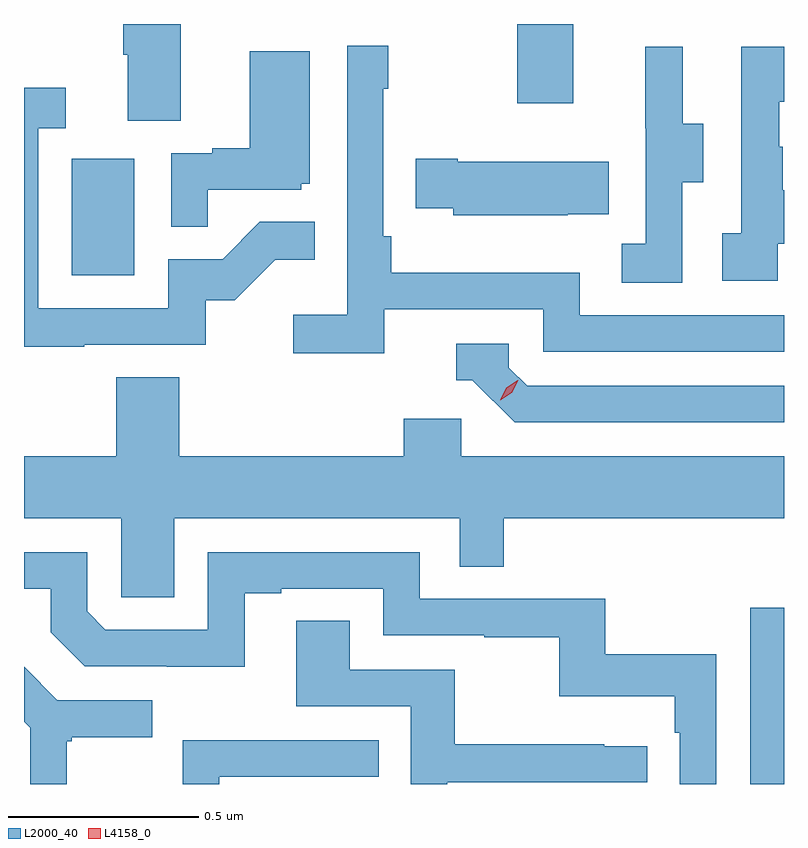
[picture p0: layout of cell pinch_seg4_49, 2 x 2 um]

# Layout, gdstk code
import gdstk
lib = gdstk.Library(unit=1e-6, precision=1e-09)
def R(c, l, rs):  # rectangles x0, y0, x1, y1
    for r in rs: c.add(gdstk.rectangle(r[:2], r[2:], *l))
def P(c, l, *ps):  # polygons
    for p in ps: c.add(gdstk.Polygon(p, *l))
L2000_40 = (2000, 40)
L4158_0 = (4158, 0)

pinch_seg4_49 = lib.new_cell('pinch_seg4_49')
R(pinch_seg4_49, L2000_40, [(1131.695,820.097,1131.784,820.561), (1129.91,821.436,1130.074,821.743), (1131.082,821.889,1131.229,822.097)])
P(pinch_seg4_49, L2000_40, [(1130.197,822.097),(1130.045,822.097),(1130.045,822.016),(1130.057,822.016),(1130.057,821.842),(1130.197,821.842)],
  [(1130.732,821.346),(1131.15,821.346),(1131.15,821.235),(1131.784,821.235),(1131.784,821.331),(1131.246,821.331),(1131.246,821.443),(1130.75,821.443),(1130.75,821.539),(1130.73,821.539),(1130.73,821.927),(1130.743,821.927),(1130.743,822.04),(1130.634,822.04),(1130.634,821.332),(1130.493,821.332),(1130.493,821.23),(1130.732,821.23)],
  [(1131.768,821.519),(1131.784,821.519),(1131.784,821.659),(1131.781,821.659),(1131.781,821.774),(1131.771,821.774),(1131.771,821.892),(1131.784,821.892),(1131.784,822.037),(1131.672,822.037),(1131.672,821.546),(1131.621,821.546),(1131.621,821.421),(1131.768,821.421)],
  [(1131.516,821.68),(1131.571,821.68),(1131.571,821.835),(1131.517,821.835),(1131.517,822.037),(1131.419,822.037),(1131.419,821.823),(1131.42,821.823),(1131.42,821.519),(1131.357,821.519),(1131.357,821.416),(1131.516,821.416)],
  [(1130.267,821.661),(1130.514,821.661),(1130.514,821.676),(1130.536,821.676),(1130.536,822.025),(1130.378,822.025),(1130.378,821.77),(1130.279,821.77),(1130.279,821.757),(1130.172,821.757),(1130.172,821.563),(1130.267,821.563)],
  [(1129.943,821.253),(1130.262,821.253),(1130.262,821.37),(1130.338,821.37),(1130.445,821.477),(1130.549,821.477),(1130.549,821.576),(1130.405,821.576),(1130.307,821.478),(1130.163,821.478),(1130.163,821.349),(1129.821,821.349),(1129.821,821.823),(1129.894,821.823),(1129.894,821.929),(1129.784,821.929),(1129.784,821.248),(1129.943,821.248)],
  [(1131.215,821.597),(1131.323,821.597),(1131.323,821.734),(1130.926,821.734),(1130.926,821.742),(1130.815,821.742),(1130.815,821.612),(1130.913,821.612),(1130.913,821.594),(1131.215,821.594)],
  [(1131.784,821.145),(1131.108,821.145),(1131.06,821.193),(1131.06,821.256),(1130.921,821.256),(1130.921,821.16),(1130.964,821.16),(1131.075,821.049),(1131.784,821.049)],
  [(1130.179,820.796),(1130.931,820.796),(1130.931,820.669),(1131.047,820.669),(1131.047,820.796),(1131.784,820.796),(1131.784,820.96),(1130.934,820.96),(1130.934,821.058),(1130.783,821.058),(1130.783,820.96),(1130.192,820.96),(1130.192,821.168),(1130.027,821.168),(1130.027,820.96),(1129.784,820.96),(1129.784,820.796),(1130.04,820.796),(1130.04,820.588),(1130.179,820.588)],
  [(1131.606,820.438),(1131.313,820.438),(1131.313,820.584),(1130.826,820.584),(1130.826,820.707),(1130.268,820.707),(1130.268,820.503),(1129.998,820.503),(1129.95,820.551),(1129.95,820.707),(1129.784,820.707),(1129.784,820.611),(1129.854,820.611),(1129.854,820.497),(1129.944,820.407),(1130.16,820.407),(1130.16,820.406),(1130.365,820.406),(1130.365,820.599),(1130.461,820.599),(1130.461,820.611),(1130.73,820.611),(1130.73,820.488),(1130.995,820.488),(1130.995,820.483),(1131.192,820.483),(1131.192,820.328),(1131.497,820.328),(1131.497,820.232),(1131.51,820.232),(1131.51,820.097),(1131.606,820.097)],
  [(1130.898,820.101),(1131.424,820.101),(1131.424,820.197),(1131.311,820.197),(1131.311,820.202),(1130.918,820.202),(1130.918,820.398),(1130.641,820.398),(1130.641,820.526),(1130.501,820.526),(1130.501,820.302),(1130.802,820.302),(1130.802,820.097),(1130.898,820.097)],
  [(1129.897,820.209),(1129.909,820.209),(1129.909,820.22),(1130.122,820.22),(1130.122,820.317),(1129.872,820.317),(1129.784,820.405),(1129.784,820.261),(1129.8,820.245),(1129.8,820.097),(1129.897,820.097)],
  [(1130.298,820.116),(1130.717,820.116),(1130.717,820.212),(1130.202,820.212),(1130.202,820.097),(1130.298,820.097)])
P(pinch_seg4_49, L4158_0, [(1131.037,821.107),(1131.037,821.107),(1131.053,821.14),(1131.083,821.159),(1131.084,821.159),(1131.084,821.159),(1131.068,821.126),(1131.037,821.107)])

lib.write_gds('pinch_seg4_49.gds')
